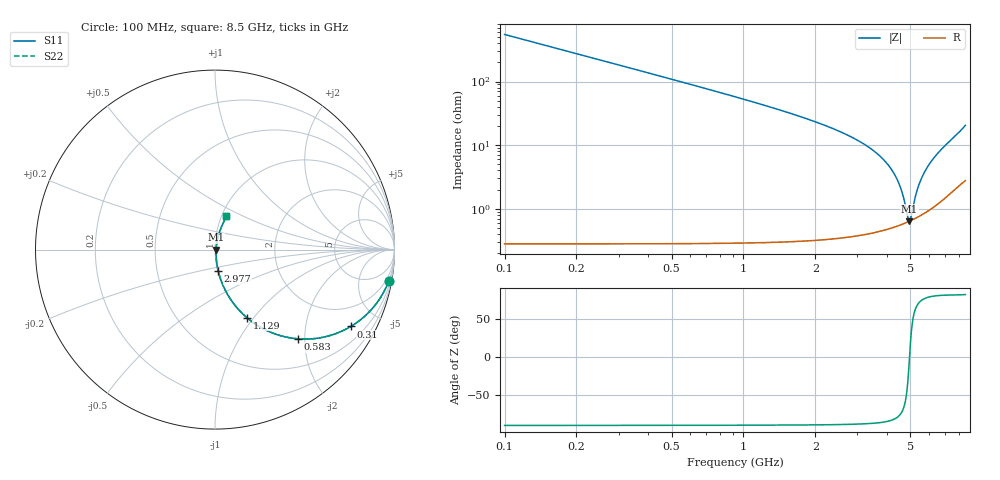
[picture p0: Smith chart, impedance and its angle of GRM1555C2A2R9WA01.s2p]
!Murata Part Number: GRM1555C2A2R9WA01
!These Parameters are Measured in Series Mode Connection
!Data Generated on Mar 30, 2021
!  o--ll--o
!Port1  Port2
!  o------o
!Operation Temp=25[degC], DC Bias Voltage=0[V]
!Freq. Start=100[MHz] Stop=9[GHz] 401[Steps]
# Hz S RI R 50
!Freq.(Hz) S11(Real) S11(Imag) S21(Real) S21(Imag) S12(Real) S12(Imag) S22(Real) S22(Imag)
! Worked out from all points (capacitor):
!   401 points, 100 MHz to 8.5 GHz, reference 50 ohm
!   read as one part in series: C = 2.9 pF near 142 MHz
!   lowest |Z| = 637 mohm at 4.951 GHz (marker M1)
!   series resonance near 4.96 GHz, so ESL is about 360 pH
!   S11 on the Smith chart (normalised r, x): 100 MHz: 1, -11; 310 MHz: 1.01, -3.53; 583 MHz: 1.01, -1.86; 1.129 GHz: 1.01, -0.93; 2.977 GHz: 1.01, -0.24; 8.5 GHz: 1.06, +0.41
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1e8  0.9678 -0.1764  0.0322 0.1764  0.0322 0.1764  0.9678 -0.1764
2.05e8  0.877 -0.328  0.123 0.328  0.123 0.328  0.877 -0.328
3.1e8  0.7564 -0.4284  0.2436 0.4284  0.2436 0.4284  0.7564 -0.4284
4.36e8  0.6094 -0.4868  0.3906 0.4868  0.3906 0.4868  0.6094 -0.4868
5.83e8  0.4635 -0.4971  0.5365 0.4971  0.5365 0.4971  0.4635 -0.4971
8.35e8  0.2915 -0.4522  0.7085 0.4522  0.7085 0.4522  0.2915 -0.4522
1.129e9  0.178 -0.3793  0.822 0.3793  0.822 0.3793  0.178 -0.3793
1.507e9  0.102 -0.2981  0.898 0.2981  0.898 0.2981  0.102 -0.2981
2.914e9  0.0193 -0.124  0.9807 0.124  0.9807 0.124  0.0193 -0.124
2.977e9  0.0181 -0.1189  0.9819 0.1189  0.9819 0.1189  0.0181 -0.1189
3.775e9  0.00851 -0.0635  0.9915 0.0635  0.9915 0.0635  0.00851 -0.0635
4.3e9  0.00627 -0.0335  0.9937 0.0335  0.9937 0.0335  0.00627 -0.0335
4.594e9  0.00595 -0.0181  0.9941 0.0181  0.9941 0.0181  0.00595 -0.0181
4.888e9  0.0062 -0.00348  0.9938 0.00348  0.9938 0.00348  0.0062 -0.00348
4.951e9  0.00632 -0.000419  0.9937 0.000419  0.9937 0.000419  0.00632 -0.000419
5.014e9  0.00646 0.00262  0.9935 -0.00262  0.9935 -0.00262  0.00646 0.00262
5.203e9  0.00704 0.0116  0.993 -0.0116  0.993 -0.0116  0.00704 0.0116
5.35e9  0.00763 0.0185  0.9924 -0.0185  0.9924 -0.0185  0.00763 0.0185
5.707e9  0.00958 0.0349  0.9904 -0.0349  0.9904 -0.0349  0.00958 0.0349
6.274e9  0.0143 0.0606  0.9857 -0.0606  0.9857 -0.0606  0.0143 0.0606
7.114e9  0.0255 0.0997  0.9745 -0.0997  0.9745 -0.0997  0.0255 0.0997
8.5e9  0.0634 0.185  0.9366 -0.185  0.9366 -0.185  0.0634 0.185
